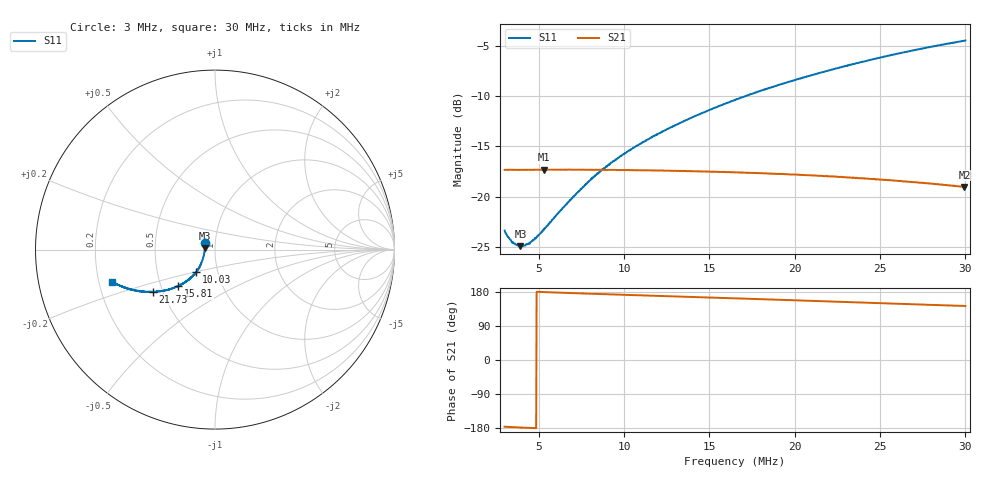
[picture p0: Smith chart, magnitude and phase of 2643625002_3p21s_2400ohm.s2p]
# HZ S RI R 50
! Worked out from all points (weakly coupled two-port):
!   1023 points, 3 MHz to 30 MHz, reference 50 ohm
!   highest |S21| = -17.31 dB at 5.325 MHz (marker M1); lowest = -19.0 dB at 29.95 MHz (marker M2)
!   lowest |S11| = -24.9 dB at 3.925 MHz (marker M3), VSWR 1.12, Z = 44.7 + j0.585 ohm
!   |S11| at or under -10 dB: start of sweep to 17.1 MHz
!   S12 and S22 are empty: the file has one direction only
!   S11 on the Smith chart (normalised r, x): 3 MHz: 0.89, +0.07; 10.03 MHz: 0.79, -0.20; 15.81 MHz: 0.61, -0.27; 21.73 MHz: 0.44, -0.25; 30 MHz: 0.26, -0.14
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3000000  -0.0551 0.0394  -0.1355 -0.00954  0 0  0 0
3449123  -0.0547 0.022  -0.1358 -0.00704  0 0  0 0
3686894  -0.0557 0.014  -0.1359 -0.00588  0 0  0 0
3924665  -0.0563 0.00652  -0.136 -0.00443  0 0  0 0
4215274  -0.0571 -0.00175  -0.1358 -0.00301  0 0  0 0
4505883  -0.0585 -0.00946  -0.1359 -0.00157  0 0  0 0
5324872  -0.0619 -0.0303  -0.1363 0.00196  0 0  0 0
6487308  -0.0687 -0.0567  -0.136 0.00644  0 0  0 0
7517649  -0.0777 -0.0772  -0.1358 0.0105  0 0  0 0
8680085  -0.0888 -0.102  -0.1353 0.0147  0 0  0 0
1.002745e7  -0.1055 -0.126  -0.1344 0.019  0 0  0 0
1.200888e7  -0.1347 -0.1559  -0.1323 0.0253  0 0  0 0
1.388463e7  -0.1666 -0.1807  -0.1303 0.0316  0 0  0 0
1.581322e7  -0.2046 -0.2026  -0.1272 0.0373  0 0  0 0
1.650011e7  -0.2199 -0.2096  -0.126 0.0392  0 0  0 0
1.811167e7  -0.2553 -0.2226  -0.123 0.0439  0 0  0 0
2.101776e7  -0.3278 -0.2346  -0.1165 0.052  0 0  0 0
2.173107e7  -0.346 -0.236  -0.1147 0.0536  0 0  0 0
2.550899e7  -0.449 -0.2271  -0.1041 0.0617  0 0  0 0
2.764893e7  -0.5077 -0.2088  -0.0967 0.0654  0 0  0 0
2.994738e7  -0.5685 -0.1828  -0.0889 0.0676  0 0  0 0
3.000022e7  -0.5714 -0.1804  -0.0887 0.0683  0 0  0 0
